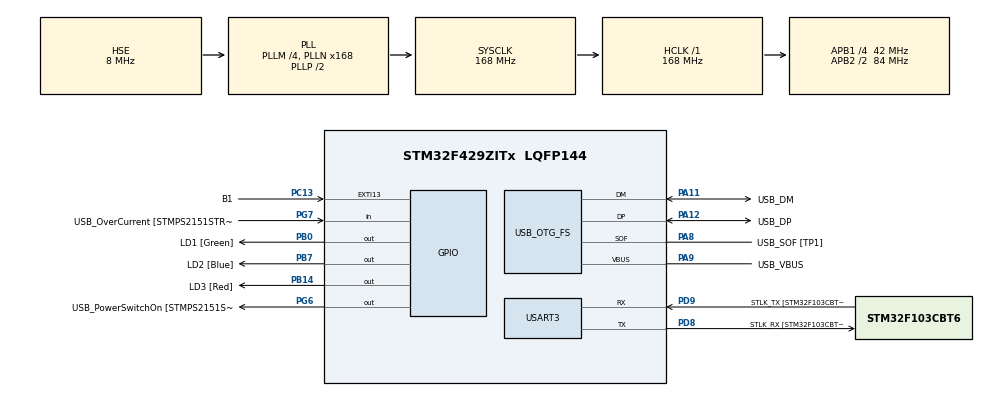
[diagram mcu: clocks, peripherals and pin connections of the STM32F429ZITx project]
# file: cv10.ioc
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Mcu.Family=STM32F4
Mcu.Name=STM32F429ZITx
Mcu.Package=LQFP144
NVIC.OTG_FS_IRQn=true\:0\:0\:false\:false\:true\:false\:true\:true
NVIC.PriorityGroup=NVIC_PRIORITYGROUP_4
PA1.GPIO_Label=RMII_REF_CLK [LAN8742A-CZ-TR_REFCLK0]
PA1.Signal=ETH_REF_CLK
PA10.GPIO_Label=USB_ID
PA10.Signal=USB_OTG_FS_ID
PA11.GPIO_Label=USB_DM
PA11.Mode=Device_Only
PA11.Signal=USB_OTG_FS_DM
PA12.GPIO_Label=USB_DP
PA12.Mode=Device_Only
PA12.Signal=USB_OTG_FS_DP
PA13.GPIO_Label=TMS
PA13.Mode=Serial_Wire
PA13.Signal=SYS_JTMS-SWDIO
PA14.GPIO_Label=TCK
PA14.Mode=Serial_Wire
PA14.Signal=SYS_JTCK-SWCLK
PA2.GPIO_Label=RMII_MDIO [LAN8742A-CZ-TR_MDIO]
PA2.Signal=ETH_MDIO
PA7.GPIO_Label=RMII_CRS_DV [LAN8742A-CZ-TR_CRS_DV]
PA7.Signal=ETH_CRS_DV
PA8.GPIO_Label=USB_SOF [TP1]
PA8.Mode=Activate_SOF_FS
PA8.Signal=USB_OTG_FS_SOF
PA9.GPIO_Label=USB_VBUS
PA9.Mode=Activate_VBUS
PA9.Signal=USB_OTG_FS_VBUS
PB0.GPIO_Label=LD1 [Green]
PB0.Signal=GPIO_Output
PB13.GPIO_Label=RMII_TXD1 [LAN8742A-CZ-TR_TXD1]
PB13.Signal=ETH_TXD1
PB14.GPIO_Label=LD3 [Red]
PB14.Signal=GPIO_Output
PB7.GPIO_Label=LD2 [Blue]
PB7.Signal=GPIO_Output
PC1.GPIO_Label=RMII_MDC [LAN8742A-CZ-TR_MDC]
PC1.Signal=ETH_MDC
PC13.GPIO_Label=B1
PC13.Signal=GPXTI13
PC14/OSC32_IN.Mode=LSE-External-Oscillator
PC14/OSC32_IN.Signal=RCC_OSC32_IN
PC15/OSC32_OUT.Mode=LSE-External-Oscillator
PC15/OSC32_OUT.Signal=RCC_OSC32_OUT
PC4.GPIO_Label=RMII_RXD0 [LAN8742A-CZ-TR_RXD0]
PC4.Signal=ETH_RXD0
PC5.GPIO_Label=RMII_RXD1 [LAN8742A-CZ-TR_RXD1]
PC5.Signal=ETH_RXD1
PD8.GPIO_Label=STLK_RX [STM32F103CBT6_PA3]
PD8.Mode=Asynchronous
PD8.Signal=USART3_TX
PD9.GPIO_Label=STLK_TX [STM32F103CBT6_PA2]
PD9.Mode=Asynchronous
PD9.Signal=USART3_RX
PG11.GPIO_Label=RMII_TX_EN [LAN8742A-CZ-TR_TXEN]
PG11.Signal=ETH_TX_EN
PG13.GPIO_Label=RMII_TXD0 [LAN8742A-CZ-TR_TXD0]
PG13.Signal=ETH_TXD0
PG6.GPIO_Label=USB_PowerSwitchOn [STMPS2151STR_EN]
PG6.Signal=GPIO_Output
PG7.GPIO_Label=USB_OverCurrent [STMPS2151STR_FAULT]
PG7.Signal=GPIO_Input
PH0/OSC_IN.GPIO_Label=MCO [STM32F103CBT6_PA8]
PH0/OSC_IN.Mode=HSE-External-Clock-Source
PH0/OSC_IN.Signal=RCC_OSC_IN
PH1/OSC_OUT.Mode=HSE-External-Clock-Source
PH1/OSC_OUT.Signal=RCC_OSC_OUT
ProjectManager.HeapSize=0x200
ProjectManager.StackSize=0x400
ProjectManager.TargetToolchain=STM32CubeIDE
RCC.48MHZClocksFreq_Value=48000000
RCC.AHBFreq_Value=168000000
RCC.APB1CLKDivider=RCC_HCLK_DIV4
RCC.APB1Freq_Value=42000000
RCC.APB1TimFreq_Value=84000000
RCC.APB2CLKDivider=RCC_HCLK_DIV2
RCC.APB2Freq_Value=84000000
RCC.APB2TimCLKDivider=2
RCC.APB2TimFreq_Value=168000000
RCC.CortexFreq_Value=168000000
RCC.HCLKFreq_Value=168000000
RCC.HSE_VALUE=8000000
RCC.HSI_VALUE=16000000
RCC.PLLM=4
RCC.PLLMUL=RCC_PLL_MUL9
RCC.PLLN=168
RCC.PLLQ=7
RCC.PRESCALERUSB=RCC_USBCLKSOURCE_PLL_DIV1_5
RCC.SYSCLKFreq_VALUE=168000000
RCC.SYSCLKSource=RCC_SYSCLKSOURCE_PLLCLK
RCC.SYSCLKSourceVirtual=RCC_SYSCLKSOURCE_PLLCLK
RCC.USBFreq_Value=48000000
RCC.VCOOutputFreq_Value=336000000
USART3.VirtualMode=VM_ASYNC
USB_DEVICE.CLASS_NAME_FS=HID
USB_DEVICE.VirtualMode-HID_FS=Hid
USB_DEVICE.VirtualModeFS=Hid_FS
USB_OTG_FS.VirtualMode=Device_Only
VP_USB_DEVICE_VS_USB_DEVICE_HID_FS.Mode=HID_FS
board=NUCLEO-F429ZI

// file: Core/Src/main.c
/* USER CODE BEGIN Header */
/**
 ******************************************************************************
 * @file           : main.c
 * @brief          : Main program body
 ******************************************************************************
 * @attention
 *
 * Copyright (c) 2023 STMicroelectronics.
 * All rights reserved.
 *
 * This software is licensed under terms that can be found in the LICENSE file
 * in the root directory of this software component.
 * If no LICENSE file comes with this software, it is provided AS-IS.
 *
 ******************************************************************************
 */
/* USER CODE END Header */
#include "main.h"
#include "usb_device.h"

/* USER CODE BEGIN Includes */
#include "usbd_hid.h"
#include <math.h>
/* USER CODE END Includes */

UART_HandleTypeDef huart3;

/* USER CODE BEGIN PV */
extern USBD_HandleTypeDef hUsbDeviceFS;
/* USER CODE END PV */

void SystemClock_Config(void);
static void MX_GPIO_Init(void);
static void MX_USART3_UART_Init(void);

/* USER CODE BEGIN 0 */

void step (int32_t stepx, int32_t stepy) {
	uint8_t buff[4];
	buff[0] = 0x00; // stiskni leve tlacitko
	buff[1] = (int8_t)(stepx); // posun X
	buff[2] = (int8_t)(stepy); // posun Y
	buff[3] = 0;
	buff[0] = 0x01;
	USBD_HID_SendReport(&hUsbDeviceFS, buff, sizeof(buff));
	HAL_Delay(USBD_HID_GetPollingInterval(&hUsbDeviceFS));

}

void circle (uint32_t r){
	int32_t  sx = 0;
	int32_t  sy = 0;
	uint32_t  i = 0;
	for(uint32_t  i = 0; i<51; i++){
		float x = r*cosf(i*(2*M_PI/50));
		float y = r*sinf(i*(2*M_PI/50));
		int32_t  dx = x-sx;
		int32_t  dy = y-sy;
		buff[0] = 0x01; // stiskni leve tlacitko
		buff[1] = (int8_t)(dx); // posun X
		buff[2] = (int8_t)(dy); // posun Y
		buff[3] = 0;
		step(dx,dy);
		sx = sx + dx;
		sy = sy + dy;

	}
	buff[0] = 0x00;

}
void semicircle (uint32_t r){
	int32_t  sx1 = 0;
	int32_t  sy1 = 0;
	for(uint32_t  i = 0; i<51; i++){
		float x1 = r*cosf(i*(M_PI/50));
		float y1 = r*sinf(i*(M_PI/50));
		int32_t  dx1 = x1-sx1;
		int32_t  dy1 = y1-sy1;
		buff[0] = 0x01; // stiskni leve tlacitko
		buff[1] = (int8_t)(dx1); // posun X
		buff[2] = (int8_t)(dy1); // posun Y
		buff[3] = 0;
		step(dx1,dy1);
		sx1 = sx1 + dx1;
		sy1 = sy1 + dy1;

	}
	buff[0] = 0x00;

}

/* USER CODE END 0 */

int main(void)
{

	/* MCU Configuration--------------------------------------------------------*/

	/* Reset of all peripherals, Initializes the Flash interface and the Systick. */
	HAL_Init();

	/* Configure the system clock */
	SystemClock_Config();

	/* Initialize all configured peripherals */
	MX_GPIO_Init();
	MX_USART3_UART_Init();
	MX_USB_DEVICE_Init();

	/* Infinite loop */
	/* USER CODE BEGIN WHILE */

	while (1)
	{
		uint32_t stat = HAL_GPIO_ReadPin(B1_GPIO_Port, B1_Pin);

		if(stat != 0){
			circle(150);
			HAL_Delay(50);
			step(-20,-30);
			circle(30);
			step(120,0);
			circle(30);

		}

	}

	/* USER CODE END WHILE */

}

void SystemClock_Config(void)
{
	RCC_OscInitTypeDef RCC_OscInitStruct = {0};
	RCC_ClkInitTypeDef RCC_ClkInitStruct = {0};

	/** Configure the main internal regulator output voltage
	 */
	__HAL_RCC_PWR_CLK_ENABLE();
	__HAL_PWR_VOLTAGESCALING_CONFIG(PWR_REGULATOR_VOLTAGE_SCALE1);

	/** Initializes the RCC Oscillators according to the specified parameters
	 * in the RCC_OscInitTypeDef structure.
	 */
	RCC_OscInitStruct.OscillatorType = RCC_OSCILLATORTYPE_HSE;
	RCC_OscInitStruct.HSEState = RCC_HSE_BYPASS;
	RCC_OscInitStruct.PLL.PLLState = RCC_PLL_ON;
	RCC_OscInitStruct.PLL.PLLSource = RCC_PLLSOURCE_HSE;
	RCC_OscInitStruct.PLL.PLLM = 4;
	RCC_OscInitStruct.PLL.PLLN = 168;
	RCC_OscInitStruct.PLL.PLLP = RCC_PLLP_DIV2;
	RCC_OscInitStruct.PLL.PLLQ = 7;
	if (HAL_RCC_OscConfig(&RCC_OscInitStruct) != HAL_OK)
	{
		Error_Handler();
	}

	/** Initializes the CPU, AHB and APB buses clocks
	 */
	RCC_ClkInitStruct.ClockType = RCC_CLOCKTYPE_HCLK|RCC_CLOCKTYPE_SYSCLK
			|RCC_CLOCKTYPE_PCLK1|RCC_CLOCKTYPE_PCLK2;
	RCC_ClkInitStruct.SYSCLKSource = RCC_SYSCLKSOURCE_PLLCLK;
	RCC_ClkInitStruct.AHBCLKDivider = RCC_SYSCLK_DIV1;
	RCC_ClkInitStruct.APB1CLKDivider = RCC_HCLK_DIV4;
	RCC_ClkInitStruct.APB2CLKDivider = RCC_HCLK_DIV2;

	if (HAL_RCC_ClockConfig(&RCC_ClkInitStruct, FLASH_LATENCY_5) != HAL_OK)
	{
		Error_Handler();
	}
}

static void MX_USART3_UART_Init(void)
{

	huart3.Instance = USART3;
	huart3.Init.BaudRate = 115200;
	huart3.Init.WordLength = UART_WORDLENGTH_8B;
	huart3.Init.StopBits = UART_STOPBITS_1;
	huart3.Init.Parity = UART_PARITY_NONE;
	huart3.Init.Mode = UART_MODE_TX_RX;
	huart3.Init.HwFlowCtl = UART_HWCONTROL_NONE;
	huart3.Init.OverSampling = UART_OVERSAMPLING_16;
	if (HAL_UART_Init(&huart3) != HAL_OK)
	{
		Error_Handler();
	}

}

static void MX_GPIO_Init(void)
{
	GPIO_InitTypeDef GPIO_InitStruct = {0};

	/* GPIO Ports Clock Enable */
	__HAL_RCC_GPIOC_CLK_ENABLE();
	__HAL_RCC_GPIOH_CLK_ENABLE();
	__HAL_RCC_GPIOA_CLK_ENABLE();
	__HAL_RCC_GPIOB_CLK_ENABLE();
	__HAL_RCC_GPIOD_CLK_ENABLE();
	__HAL_RCC_GPIOG_CLK_ENABLE();

	/*Configure GPIO pin Output Level */
	HAL_GPIO_WritePin(GPIOB, LD1_Pin|LD3_Pin|LD2_Pin, GPIO_PIN_RESET);

	/*Configure GPIO pin Output Level */
	HAL_GPIO_WritePin(USB_PowerSwitchOn_GPIO_Port, USB_PowerSwitchOn_Pin, GPIO_PIN_RESET);

	/*Configure GPIO pin : B1_Pin */
	GPIO_InitStruct.Pin = B1_Pin;
	GPIO_InitStruct.Mode = GPIO_MODE_IT_RISING;
	GPIO_InitStruct.Pull = GPIO_NOPULL;
	HAL_GPIO_Init(B1_GPIO_Port, &GPIO_InitStruct);

	/*Configure GPIO pins : RMII_MDC_Pin RMII_RXD0_Pin RMII_RXD1_Pin */
	GPIO_InitStruct.Pin = RMII_MDC_Pin|RMII_RXD0_Pin|RMII_RXD1_Pin;
	GPIO_InitStruct.Mode = GPIO_MODE_AF_PP;
	GPIO_InitStruct.Pull = GPIO_NOPULL;
	GPIO_InitStruct.Speed = GPIO_SPEED_FREQ_VERY_HIGH;
	GPIO_InitStruct.Alternate = GPIO_AF11_ETH;
	HAL_GPIO_Init(GPIOC, &GPIO_InitStruct);

	/*Configure GPIO pins : RMII_REF_CLK_Pin RMII_MDIO_Pin RMII_CRS_DV_Pin */
	GPIO_InitStruct.Pin = RMII_REF_CLK_Pin|RMII_MDIO_Pin|RMII_CRS_DV_Pin;
	GPIO_InitStruct.Mode = GPIO_MODE_AF_PP;
	GPIO_InitStruct.Pull = GPIO_NOPULL;
	GPIO_InitStruct.Speed = GPIO_SPEED_FREQ_VERY_HIGH;
	GPIO_InitStruct.Alternate = GPIO_AF11_ETH;
	HAL_GPIO_Init(GPIOA, &GPIO_InitStruct);

	/*Configure GPIO pins : LD1_Pin LD3_Pin LD2_Pin */
	GPIO_InitStruct.Pin = LD1_Pin|LD3_Pin|LD2_Pin;
	GPIO_InitStruct.Mode = GPIO_MODE_OUTPUT_PP;
	GPIO_InitStruct.Pull = GPIO_NOPULL;
	GPIO_InitStruct.Speed = GPIO_SPEED_FREQ_LOW;
	HAL_GPIO_Init(GPIOB, &GPIO_InitStruct);

	/*Configure GPIO pin : RMII_TXD1_Pin */
	GPIO_InitStruct.Pin = RMII_TXD1_Pin;
	GPIO_InitStruct.Mode = GPIO_MODE_AF_PP;
	GPIO_InitStruct.Pull = GPIO_NOPULL;
	GPIO_InitStruct.Speed = GPIO_SPEED_FREQ_VERY_HIGH;
	GPIO_InitStruct.Alternate = GPIO_AF11_ETH;
	HAL_GPIO_Init(RMII_TXD1_GPIO_Port, &GPIO_InitStruct);

	/*Configure GPIO pin : USB_PowerSwitchOn_Pin */
	GPIO_InitStruct.Pin = USB_PowerSwitchOn_Pin;
	GPIO_InitStruct.Mode = GPIO_MODE_OUTPUT_PP;
	GPIO_InitStruct.Pull = GPIO_NOPULL;
	GPIO_InitStruct.Speed = GPIO_SPEED_FREQ_LOW;
	HAL_GPIO_Init(USB_PowerSwitchOn_GPIO_Port, &GPIO_InitStruct);

	/*Configure GPIO pin : USB_OverCurrent_Pin */
	GPIO_InitStruct.Pin = USB_OverCurrent_Pin;
	GPIO_InitStruct.Mode = GPIO_MODE_INPUT;
	GPIO_InitStruct.Pull = GPIO_NOPULL;
	HAL_GPIO_Init(USB_OverCurrent_GPIO_Port, &GPIO_InitStruct);

	/*Configure GPIO pins : RMII_TX_EN_Pin RMII_TXD0_Pin */
	GPIO_InitStruct.Pin = RMII_TX_EN_Pin|RMII_TXD0_Pin;
	GPIO_InitStruct.Mode = GPIO_MODE_AF_PP;
	GPIO_InitStruct.Pull = GPIO_NOPULL;
	GPIO_InitStruct.Speed = GPIO_SPEED_FREQ_VERY_HIGH;
	GPIO_InitStruct.Alternate = GPIO_AF11_ETH;
	HAL_GPIO_Init(GPIOG, &GPIO_InitStruct);

}

void Error_Handler(void)
{
	__disable_irq();
	while (1)
	{
	}
}
